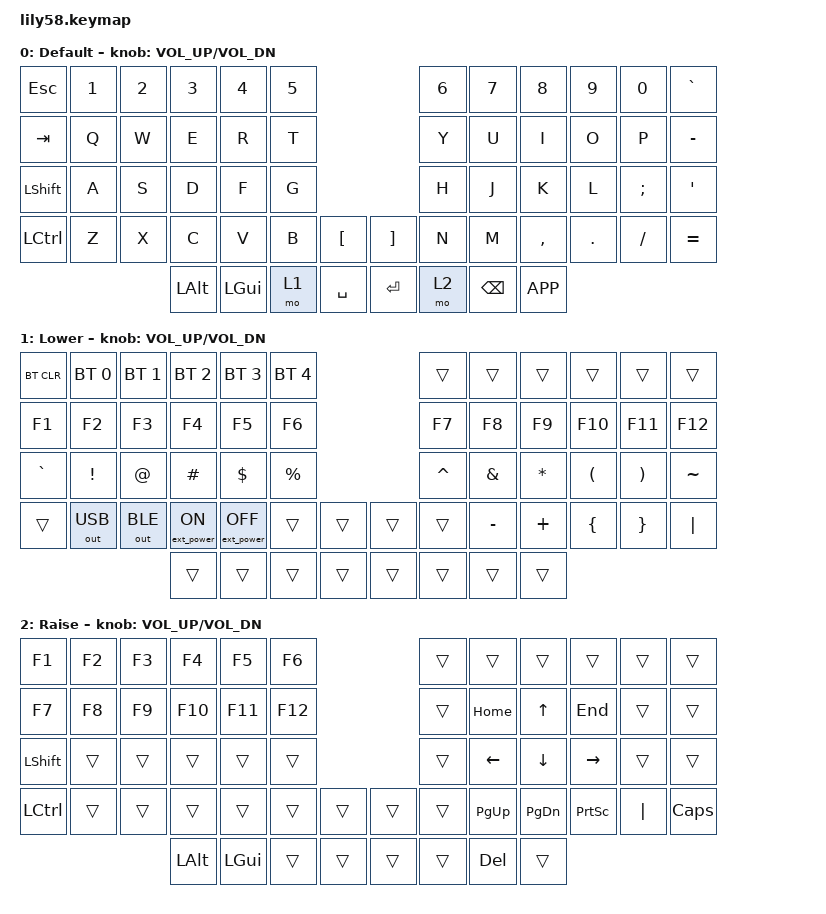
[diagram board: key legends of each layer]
/*
 * Copyright (c) 2020 The ZMK Contributors
 *
 * SPDX-License-Identifier: MIT
 */

#include <behaviors.dtsi>
#include <dt-bindings/zmk/keys.h>
#include <dt-bindings/zmk/bt.h>
#include <dt-bindings/zmk/ext_power.h>
#include <dt-bindings/zmk/outputs.h>

/ {
    keymap {
        compatible = "zmk,keymap";

        default_layer {
            display-name = "Default";
// -------------------------------------------------------------------------------------------------------------------
// |  ESC  |  1  |  2  |   3   |   4   |   5   |                    |   6   |   7   |   8    |   9   |   0   |   `   |
// |  TAB  |  Q  |  W  |   E   |   R   |   T   |                    |   Y   |   U   |   I    |   O   |   P   |   -   |
// | SHIFT |  A  |  S  |   D   |   F   |   G   |                    |   H   |   J   |   K    |   L   |   ;   |   '   |
// | CTRL  |  Z  |  X  |   C   |   V   |   B   |   "["  |  |  "]"   |   N   |   M   |   ,    |   .   |   /   |   =   |
//                     |  ALT  |  GUI  | LOWER |  SPACE |  | ENTER  | RAISE |  BSPC |  CTXM  |
            bindings = <
&kp ESC   &kp N1 &kp N2 &kp N3   &kp N4   &kp N5                    &kp N6 &kp N7   &kp N8    &kp N9  &kp N0   &kp GRAVE
&kp TAB   &kp Q  &kp W  &kp E    &kp R    &kp T                     &kp Y  &kp U    &kp I     &kp O   &kp P    &kp MINUS
&kp LSHFT &kp A  &kp S  &kp D    &kp F    &kp G                     &kp H  &kp J    &kp K     &kp L   &kp SEMI &kp SQT
&kp LCTRL &kp Z  &kp X  &kp C    &kp V    &kp B  &kp LBKT  &kp RBKT &kp N  &kp M    &kp COMMA &kp DOT &kp FSLH &kp EQUAL
                        &kp LALT &kp LGUI &mo 1  &kp SPACE &kp RET  &mo 2  &kp BSPC &kp K_APP
            >;

            sensor-bindings = <&inc_dec_kp C_VOL_UP C_VOL_DN>;
        };

        lower_layer {
            display-name = "Lower";
// -----------------------------------------------------------------------------------------------------------------------------------------------------------
// | BTCLR |    BT1    |    BT2    |        BT3       |       BT4      |    BT5    |                |        |        |        |         |         |         |
// |  F1   |     F2    |     F3    |        F4        |       F5       |    F6     |                |   F7   |   F8   |   F9   |   F10   |   F11   |   F12   |
// |   `   |     !     |     @     |         #        |        $       |     %     |                |   ^    |   &    |   *    |   (     |    )    |    ~    |
// |       |   OUTUSB  |   OUTBLE  |     EXTPWRON     |    EXTPWROFF   |           |      |  |      |        |   _    |   +    |   {     |    }    |   "|"   |
//                                 |                  |                |           |      |  |      |        |        |        |
            bindings = <
&bt BT_CLR &bt BT_SEL 0 &bt BT_SEL 1 &bt BT_SEL 2     &bt BT_SEL 3      &bt BT_SEL 4               &trans    &trans    &trans    &trans    &trans    &trans
&kp F1     &kp F2       &kp F3       &kp F4           &kp F5            &kp F6                     &kp F7    &kp F8    &kp F9    &kp F10   &kp F11   &kp F12
&kp GRAVE  &kp EXCL     &kp AT       &kp HASH         &kp DOLLAR        &kp PRCNT                  &kp CARET &kp AMPS  &kp ASTRK &kp LPAR  &kp RPAR  &kp TILDE
&trans     &out OUT_USB &out OUT_BLE &ext_power EP_ON &ext_power EP_OFF &trans     &trans   &trans &trans    &kp MINUS &kp PLUS  &kp LBRC  &kp RBRC  &kp PIPE
                                     &trans           &trans            &trans     &trans   &trans &trans    &trans    &trans
            >;

            sensor-bindings = <&inc_dec_kp C_VOL_UP C_VOL_DN>;
        };

        raise_layer {
            display-name = "Raise";
// ---------------------------------------------------------------------------------------------------------------------
// |  F1   |  F2  |  F3  |  F4  |   F5   |  F6  |                |      |       |         |         |         |        |
// |  F7   |  F8  |  F9  |  F10 |   F11  |  F12 |                |      | HOME  |    ^    |   END   |         |        |
// | SHIFT |      |      |      |        |      |                |      |   <-  |    v    |   ->    |         |        |
// | CTRL  |      |      |      |        |      |      |  |      |      | PGUP  |  PGDWN  |  PSCRN  |   "|"   |  CAPS  |
//                       | ALT  |   GUI  |      |      |  |      |      |  DEL  |         |
            bindings = <
&kp F1    &kp F2 &kp F3 &kp F4   &kp F5   &kp F6                  &trans &trans    &trans    &trans    &trans   &trans
&kp F7    &kp F8 &kp F9 &kp F10  &kp F11  &kp F12                 &trans &kp HOME  &kp UP    &kp END   &trans   &trans
&kp LSHFT &trans &trans &trans   &trans   &trans                  &trans &kp LEFT  &kp DOWN  &kp RIGHT &trans   &trans
&kp LCTRL &trans &trans &trans   &trans   &trans  &trans  &trans  &trans &kp PG_UP &kp PG_DN &kp PSCRN &kp PIPE &kp CAPS
                        &kp LALT &kp LGUI &trans  &trans  &trans  &trans &kp DEL   &trans
            >;

            sensor-bindings = <&inc_dec_kp C_VOL_UP C_VOL_DN>;
        };
    };
};
